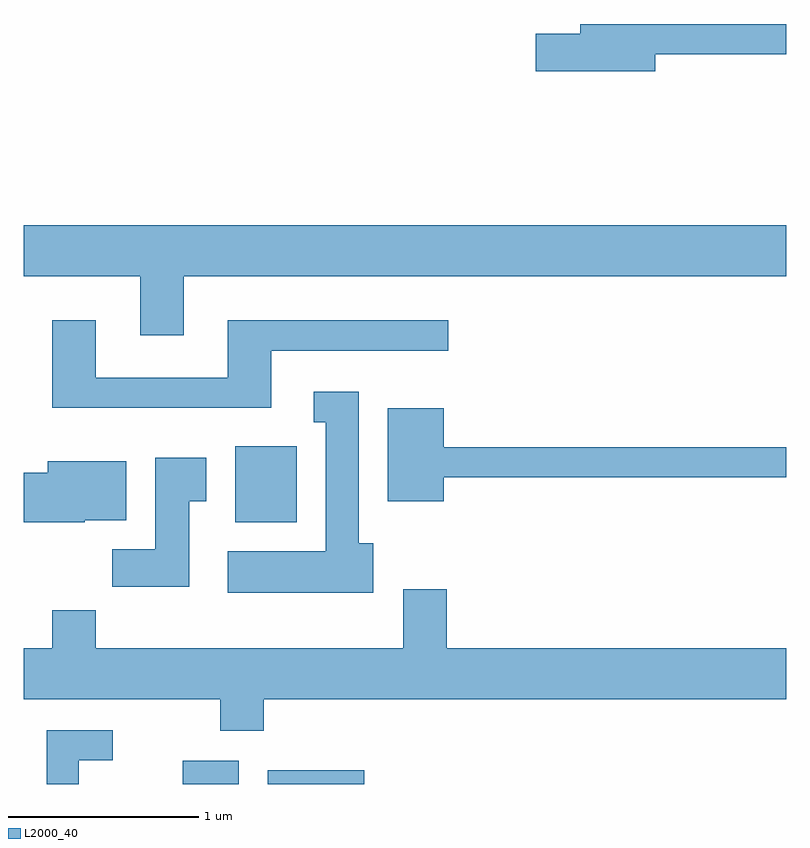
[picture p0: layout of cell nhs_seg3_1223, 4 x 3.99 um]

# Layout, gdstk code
import gdstk
lib = gdstk.Library(unit=1e-6, precision=1e-09)
def R(c, l, rs):  # rectangles x0, y0, x1, y1
    for r in rs: c.add(gdstk.rectangle(r[:2], r[2:], *l))
def P(c, l, *ps):  # polygons
    for p in ps: c.add(gdstk.Polygon(p, *l))
L2000_40 = (2000, 40)

nhs_seg3_1223 = lib.new_cell('nhs_seg3_1223')
R(nhs_seg3_1223, L2000_40, [(220.446,1249.892,220.739,1250.014), (220.891,1249.892,221.398,1249.964), (220.721,1251.266,221.044,1251.664)])
P(nhs_seg3_1223, L2000_40, [(222.924,1253.721),(223.611,1253.721),(223.611,1253.879),(222.531,1253.879),(222.531,1253.829),(222.296,1253.829),(222.296,1253.631),(222.924,1253.631)],
  [(220.449,1252.556),(223.611,1252.556),(223.611,1252.824),(219.611,1252.824),(219.611,1252.556),(220.221,1252.556),(220.221,1252.246),(220.449,1252.246)],
  [(220.909,1252.166),(221.838,1252.166),(221.838,1252.324),(220.681,1252.324),(220.681,1252.024),(219.989,1252.024),(219.989,1252.324),(219.761,1252.324),(219.761,1251.866),(220.909,1251.866)],
  [(221.444,1251.154),(221.369,1251.154),(221.369,1251.949),(221.133,1251.949),(221.133,1251.791),(221.196,1251.791),(221.196,1251.114),(220.681,1251.114),(220.681,1250.896),(221.444,1250.896)],
  [(221.814,1251.501),(223.611,1251.501),(223.611,1251.659),(221.814,1251.659),(221.814,1251.864),(221.521,1251.864),(221.521,1251.376),(221.814,1251.376)],
  [(220.479,1251.376),(220.569,1251.376),(220.569,1251.604),(220.301,1251.604),(220.301,1251.124),(220.076,1251.124),(220.076,1250.926),(220.479,1250.926)],
  [(219.93,1251.276),(220.149,1251.276),(220.149,1251.584),(219.736,1251.584),(219.736,1251.524),(219.611,1251.524),(219.611,1251.266),(219.93,1251.266)],
  [(220.869,1250.336),(223.611,1250.336),(223.611,1250.604),(221.829,1250.604),(221.829,1250.914),(221.601,1250.914),(221.601,1250.604),(219.989,1250.604),(219.989,1250.804),(219.761,1250.804),(219.761,1250.604),(219.611,1250.604),(219.611,1250.336),(220.641,1250.336),(220.641,1250.171),(220.869,1250.171)],
  [(219.899,1250.016),(220.078,1250.016),(220.078,1250.174),(219.731,1250.174),(219.731,1249.892),(219.899,1249.892)])

lib.write_gds('nhs_seg3_1223.gds')
